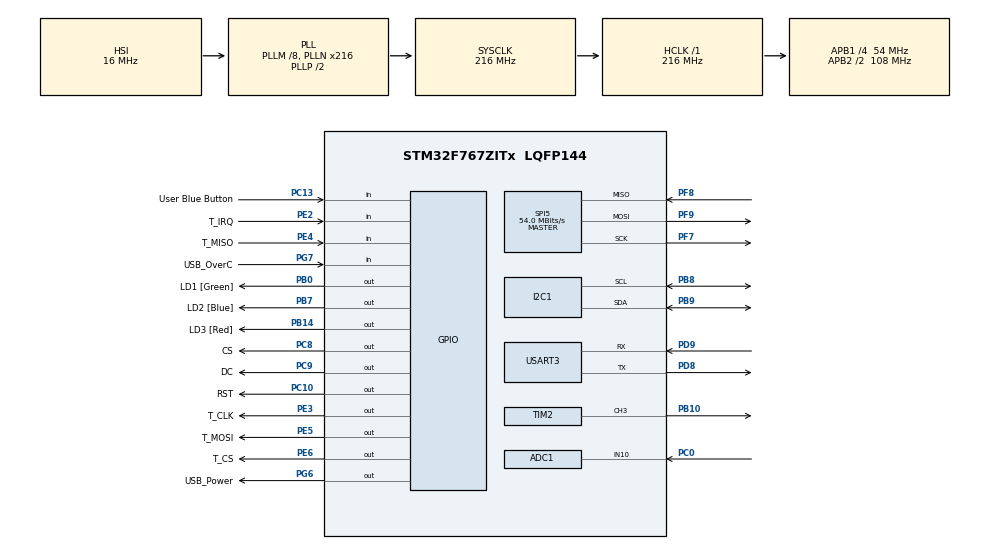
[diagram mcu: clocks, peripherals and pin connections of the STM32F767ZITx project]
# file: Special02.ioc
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ADC1.Channel-0\#ChannelRegularConversion=ADC_CHANNEL_10
ADC1.ContinuousConvMode=ENABLE
ADC1.EOCSelection=ADC_EOC_SEQ_CONV
ADC1.NbrOfConversionFlag=1
ADC1.Rank-0\#ChannelRegularConversion=1
ADC1.SamplingTime-0\#ChannelRegularConversion=ADC_SAMPLETIME_3CYCLES
ADC1.master=1
CORTEX_M7.ART_ACCELERATOR_ENABLE=1
CORTEX_M7.CPU_DCache=Enabled
CORTEX_M7.CPU_ICache=Enabled
CORTEX_M7.MPU_Control=__NULL
CORTEX_M7.PREFETCH_ENABLE=1
CORTEX_M7.default_mode_Activation=1
I2C1.Timing=0x20404768
Mcu.Family=STM32F7
Mcu.Name=STM32F767ZITx
Mcu.Package=LQFP144
NVIC.PriorityGroup=NVIC_PRIORITYGROUP_4
PB0.GPIO_Label=LD1 [Green]
PB0.Signal=GPIO_Output
PB10.GPIO_Speed=GPIO_SPEED_FREQ_VERY_HIGH
PB10.Signal=S_TIM2_CH3
PB14.GPIO_Label=LD3 [Red]
PB14.Signal=GPIO_Output
PB7.GPIO_Label=LD2 [Blue]
PB7.Signal=GPIO_Output
PB8.Mode=I2C
PB8.Signal=I2C1_SCL
PB9.Mode=I2C
PB9.Signal=I2C1_SDA
PC0.Signal=ADCx_IN10
PC10.GPIO_Label=RST
PC10.GPIO_Speed=GPIO_SPEED_FREQ_VERY_HIGH
PC10.Signal=GPIO_Output
PC13.GPIO_Label=User Blue Button
PC13.Signal=GPIO_Input
PC8.GPIO_Label=CS
PC8.GPIO_Speed=GPIO_SPEED_FREQ_VERY_HIGH
PC8.Signal=GPIO_Output
PC9.GPIO_Label=DC
PC9.GPIO_Speed=GPIO_SPEED_FREQ_VERY_HIGH
PC9.Signal=GPIO_Output
PD8.Mode=Asynchronous
PD8.Signal=USART3_TX
PD9.Mode=Asynchronous
PD9.Signal=USART3_RX
PE2.GPIO_Label=T_IRQ
PE2.Signal=GPIO_Input
PE3.GPIO_Label=T_CLK
PE3.GPIO_Speed=GPIO_SPEED_FREQ_VERY_HIGH
PE3.Signal=GPIO_Output
PE4.GPIO_Label=T_MISO
PE4.Signal=GPIO_Input
PE5.GPIO_Label=T_MOSI
PE5.GPIO_Speed=GPIO_SPEED_FREQ_VERY_HIGH
PE5.Signal=GPIO_Output
PE6.GPIO_Label=T_CS
PE6.GPIO_Speed=GPIO_SPEED_FREQ_VERY_HIGH
PE6.Signal=GPIO_Output
PF7.Mode=Full_Duplex_Master
PF7.Signal=SPI5_SCK
PF8.Mode=Full_Duplex_Master
PF8.Signal=SPI5_MISO
PF9.Mode=Full_Duplex_Master
PF9.Signal=SPI5_MOSI
PG6.GPIO_Label=USB_Power
PG6.Signal=GPIO_Output
PG7.GPIO_Label=USB_OverC
PG7.Signal=GPIO_Input
ProjectManager.HeapSize=0x200
ProjectManager.StackSize=0x400
ProjectManager.TargetToolchain=STM32CubeIDE
RCC.AHBFreq_Value=216000000
RCC.APB1CLKDivider=RCC_HCLK_DIV4
RCC.APB1Freq_Value=54000000
RCC.APB1TimFreq_Value=108000000
RCC.APB2CLKDivider=RCC_HCLK_DIV2
RCC.APB2Freq_Value=108000000
RCC.APB2TimFreq_Value=216000000
RCC.CortexFreq_Value=216000000
RCC.HCLKFreq_Value=216000000
RCC.HSE_VALUE=25000000
RCC.HSI_VALUE=16000000
RCC.LSE_VALUE=32768
RCC.PLLM=8
RCC.PLLN=216
RCC.SYSCLKFreq_VALUE=216000000
RCC.SYSCLKSource=RCC_SYSCLKSOURCE_PLLCLK
RCC.USBFreq_Value=216000000
RCC.VCOOutputFreq_Value=432000000
SH.ADCx_IN10.0=ADC1_IN10,IN10
SH.S_TIM2_CH3.0=TIM2_CH3,PWM Generation3 CH3
SPI5.CalculateBaudRate=54.0 MBits/s
SPI5.DataSize=SPI_DATASIZE_8BIT
SPI5.Direction=SPI_DIRECTION_2LINES
SPI5.Mode=SPI_MODE_MASTER
SPI5.NSSPMode=SPI_NSS_PULSE_DISABLE
SPI5.VirtualType=VM_MASTER
TIM1.ClockDivision=TIM_CLOCKDIVISION_DIV2
TIM1.Period=0
TIM1.Prescaler=10000
TIM2.Channel-PWM\ Generation3\ CH3=TIM_CHANNEL_3
TIM2.Period=10000-1
TIM2.Prescaler=108-1
TIM2.Pulse-PWM\ Generation3\ CH3=10000-1
USART3.VirtualMode-Asynchronous=VM_ASYNC
VP_RNG_VS_RNG.Mode=RNG_Activate
VP_TIM1_VS_ClockSourceINT.Mode=Internal
VP_TIM2_VS_ClockSourceINT.Mode=Internal
board=custom

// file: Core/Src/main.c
/* USER CODE BEGIN Header */
/**
  ******************************************************************************
  * @file           : main.c
  * @brief          : Main program body
  ******************************************************************************
  * @attention
  *
  * Copyright (c) 2025 STMicroelectronics.
  * All rights reserved.
  *
  * This software is licensed under terms that can be found in the LICENSE file
  * in the root directory of this software component.
  * If no LICENSE file comes with this software, it is provided AS-IS.
  *
  ******************************************************************************
  */
/* USER CODE END Header */
#include "main.h"
#include "adc.h"
#include "i2c.h"
#include "rng.h"
#include "spi.h"
#include "tim.h"
#include "usart.h"
#include "gpio.h"

/* USER CODE BEGIN Includes */
#include "ILI9341/ILI9341_Touchscreen.h"

#include "ILI9341/ILI9341_STM32_Driver.h"
#include "ILI9341/ILI9341_GFX.h"

#include "ILI9341/snow_tiger.h"

#include "stdio.h"
#include "string.h"

#include "stm32f7xx_hal.h"
#include "picture.h"

/* USER CODE END Includes */

/* USER CODE BEGIN PD */
#define CUSTOM_LIGHT_RED 0xfe79
#define CUSTOM_LIGHT_GREEN 0xe7fb
#define CUSTOM_LIGHT_BLUE 0xdedf

#define SCREEN_W 240
#define SCREEN_H 320

/* USER CODE END PD */

/* USER CODE BEGIN PV */
//  volatile uint32_t adc_val = 0;
  uint8_t state = 0;
  float temp = 40.0;
  float humid = 30.0;

  float red = 0.8;
  float green = 0.4;
  float blue = 0.7;

//  render var
  char temp_str[6];
  char humid_str[10];

  char red_str[5];
  char green_str[5];
  char blue_str[5];

  uint8_t gap = 6;

  uint8_t button_r = 22;
  uint8_t button_y = 30;
  uint8_t bar_w = 140;
  uint8_t bar_h = 30;

  uint8_t red_pos;
  uint8_t green_pos;
  uint8_t blue_pos;
  uint8_t x_bar_pos;
  uint8_t offset;

  uint32_t lastTempTime = 0;
  uint32_t lastButtonTime = 0;
  uint32_t studentTime = 0;

  volatile uint32_t adc_val = 0;
/* USER CODE END PV */

void SystemClock_Config(void);
/* USER CODE BEGIN PFP */

void init_positions(void) {
    red_pos   = 110;
    green_pos = red_pos + button_r*2 + gap;
    blue_pos  = green_pos + button_r*2 + gap;
    x_bar_pos = button_y + button_r + gap;
    offset    = bar_h/2;
}

uint16_t CRC16_2(uint8_t *ptr, uint8_t length){
	uint16_t crc = 0xFFFF;
	uint8_t s = 0x00;

	while (length--) {
		crc ^= *ptr++;
		for(s = 0; s < 8; s++) {
			if((crc & 0x01) != 0) {
				crc >>= 1;
				crc ^= 0xA001;
			} else crc >>= 1;
		}
	}
	return crc;
}

uint16_t RGB_to_HEX(float r, float g, float b)
{
    uint16_t red   = (uint16_t)(r * 31) & 0x1F;   // 5 bits
    uint16_t green = (uint16_t)(g * 63) & 0x3F;   // 6 bits
    uint16_t blue  = (uint16_t)(b * 31) & 0x1F;   // 5 bits

    return (red << 11) | (green << 5) | blue;
}

void update_color(float *color)
{
	if(*color >= 1.0){
		*color = 0;
	}
	else{
		*color += 0.1;
	}
}

void Draw_Image_From_Data(uint16_t x, uint16_t y, uint16_t width, uint16_t height, const uint16_t* image_data)
{
    uint32_t pixel_index = 0;

    for (uint16_t j = 0; j < height; j++)
    {
        for (uint16_t i = 0; i < width; i++)
        {

            uint16_t color = image_data[pixel_index];

            ILI9341_Draw_Pixel(x + i, y + j, color);

            pixel_index += 1;
        }
    }
}

void render_screen()
{
	ILI9341_Draw_Text(temp_str, 20, 35, BLACK, 2, WHITE);
//	char text[20];  // ขนาดของ array ควรเพียงพอสำหรับเก็บข้อความ
//	sprintf(text, "%lu", adc_val);  // แปลงค่า adc_val เป็นข้อความ
//	ILI9341_Draw_Text(text, 20, 35, BLACK, 2, WHITE);
	ILI9341_Draw_Text(humid_str, 170, 35, BLACK, 2, WHITE);

	ILI9341_Draw_Filled_Circle(130, 50, 25, RGB_to_HEX(red, green, blue));

	ILI9341_Draw_Filled_Circle(button_y, red_pos, button_r, RED);
	ILI9341_Draw_Filled_Circle(button_y, green_pos, button_r, GREEN);
	ILI9341_Draw_Filled_Circle(button_y, blue_pos, button_r, BLUE);

	ILI9341_Draw_Rectangle(x_bar_pos, red_pos - offset, bar_w, bar_h, CUSTOM_LIGHT_RED);
	ILI9341_Draw_Rectangle(x_bar_pos, green_pos - offset, bar_w, bar_h, CUSTOM_LIGHT_GREEN);
	ILI9341_Draw_Rectangle(x_bar_pos, blue_pos - offset, bar_w, bar_h, CUSTOM_LIGHT_BLUE);

	ILI9341_Draw_Rectangle(x_bar_pos, red_pos - offset, bar_w * red, bar_h, RED);
	ILI9341_Draw_Rectangle(x_bar_pos, green_pos - offset , bar_w * green, bar_h, GREEN);
	ILI9341_Draw_Rectangle(x_bar_pos, blue_pos - offset, bar_w * blue, bar_h, BLUE);

	ILI9341_Draw_Text(red_str, x_bar_pos + bar_w + 10, red_pos - 7, BLACK, 2, WHITE);
	ILI9341_Draw_Text(green_str,  x_bar_pos + bar_w + 10, green_pos - 7, BLACK, 2, WHITE);
	ILI9341_Draw_Text(blue_str,  x_bar_pos + bar_w + 10, blue_pos - 7, BLACK, 2, WHITE);
}

void render_student_screen(void){
	ILI9341_Fill_Screen(WHITE);
	ILI9341_Draw_Text("Group No.22", 130, 40, RGB_to_HEX(red, green, blue), 2, WHITE);
	ILI9341_Draw_Text("Emily", 130, 80, RGB_to_HEX(red, green, blue), 2, WHITE);
	ILI9341_Draw_Text("Chow", 130, 120, RGB_to_HEX(red, green, blue), 2, WHITE);
	ILI9341_Draw_Text("66010948", 130, 160, RGB_to_HEX(red, green, blue), 2, WHITE);
	Draw_Image_From_Data(10, 40, 100, 150, Jin_image);
}

/* USER CODE END PFP */

int main(void)
{

  /* USER CODE BEGIN 1 */
  uint8_t cmdBuffer[3] = {0x03, 0x00, 0x04};
  uint8_t dataBuffer[8];
  /* USER CODE END 1 */

  /* Enable the CPU Cache */

  /* Enable I-Cache---------------------------------------------------------*/
  SCB_EnableICache();

  /* Enable D-Cache---------------------------------------------------------*/
  SCB_EnableDCache();

  /* MCU Configuration--------------------------------------------------------*/

  /* Reset of all peripherals, Initializes the Flash interface and the Systick. */
  HAL_Init();

  /* Configure the system clock */
  SystemClock_Config();

  /* Initialize all configured peripherals */
  MX_GPIO_Init();
  MX_RNG_Init();
  MX_SPI5_Init();
  MX_TIM1_Init();
  MX_I2C1_Init();
  MX_USART3_UART_Init();
  MX_ADC1_Init();
  MX_TIM2_Init();
  /* USER CODE BEGIN 2 */
  ILI9341_Init();
  init_positions();
  HAL_ADC_Start(&hadc1);
  MX_TIM2_Init();
  /* USER CODE END 2 */

  /* Infinite loop */
  /* USER CODE BEGIN WHILE */

//  uint8_t gap = 6;

//  uint8_t button_r = 22;
//  uint8_t button_y = 30;
//  uint8_t bar_w = 140;
//  uint8_t bar_h = 30;

//  uint8_t red_pos = 110;
//  uint8_t green_pos = red_pos + button_r*2 + gap;
//  uint8_t blue_pos = green_pos + button_r*2 + gap;

//  uint8_t x_bar_pos = button_y + button_r + gap;

//  uint8_t offset = bar_h/2;

  uint32_t lastTempTime = 0;
//  uint32_t lastButtonTime = 0;

  float dutyCycle = 1.0;

  ILI9341_Fill_Screen(WHITE);
  ILI9341_Set_Rotation(SCREEN_HORIZONTAL_2);

  sprintf(temp_str, "%.1f C", temp);
  sprintf(humid_str, "%.1f %%RH", humid);

  sprintf(red_str, "%3u%%", (uint8_t)(red * 100));
  sprintf(green_str, "%3u%%", (uint8_t)(green * 100));
  sprintf(blue_str, "%3u%%", (uint8_t)(blue * 100));

  render_screen();
  HAL_TIM_PWM_Start(&htim2, TIM_CHANNEL_3);

  while (1)
  {
    /* USER CODE END WHILE */

    /* USER CODE BEGIN 3 */
	uint32_t now = HAL_GetTick();

	adc_val = HAL_ADC_GetValue(&hadc1);
	dutyCycle = 0.2f + ((float)adc_val / 4095.0f) * (1.0f - 0.2f);
	htim2.Instance -> CCR3 = (10000 - 1) * dutyCycle;

	if (state == 0 )
	{

	//	Sensor
		if (now - lastTempTime > 5000)
		{
			HAL_I2C_Master_Transmit(&hi2c1, 0x5C << 1, NULL, 0, 1000);
			HAL_Delay(2);
			HAL_I2C_Master_Transmit(&hi2c1, 0x5C<<1, cmdBuffer, 3, 1000);
			HAL_Delay(1);

			HAL_I2C_Master_Receive(&hi2c1, 0x5C<<1, dataBuffer, 8, 1000);

//			for (int i = 0; i < 8; i++)
//			{
//				char buf[20];
//				sprintf(buf, "B[%d]=%02X\r\n", i, dataBuffer[i]);
//				HAL_UART_Transmit(&huart3, (uint8_t*)buf, strlen(buf), 100);
//			}

			uint16_t Rcrc = (dataBuffer[6] & 0xFF) | (dataBuffer[7] << 8);

			uint16_t crc16 = CRC16_2(dataBuffer, 6);

			if (Rcrc != crc16) continue;
			uint16_t temperature = ((dataBuffer[4] & 0x7F) << 8) + dataBuffer[5];
			temp = temperature / 10.0;
			if (dataBuffer[4] & 0x80) temp = -temp;

			uint16_t humidity = (dataBuffer[2] << 8) + dataBuffer[3];
			humid = humidity / 10.0;

			sprintf(temp_str, "%.1f C", temp);
			sprintf(humid_str, "%.1f %%RH", humid);

			render_screen();

			lastTempTime = now;
		}
	// touch pad
//		if (now - lastButtonTime >= 50) {
			if(TP_Touchpad_Pressed())
			{
				uint16_t x_pos = 0;
				uint16_t y_pos = 0;

				uint16_t position_array[2];

				if(TP_Read_Coordinates(position_array) == TOUCHPAD_DATA_OK)
				{
					x_pos = position_array[0];
					y_pos = position_array[1];

					if (y_pos >= ILI9341_SCREEN_HEIGHT - button_y - button_r && y_pos <= ILI9341_SCREEN_HEIGHT - button_y + button_r)
					{
						if ((x_pos >= red_pos - button_r) &&(x_pos <= red_pos + button_r)) {
							update_color(&red);
							HAL_GPIO_WritePin(GPIOB, LD3_Pin, GPIO_PIN_SET);
						}
						else if ((x_pos >= green_pos - button_r) &&(x_pos <= green_pos + button_r)) {
							update_color(&green);
							HAL_GPIO_WritePin(GPIOB, LD1_Pin, GPIO_PIN_SET);
						}
						else if ((x_pos >= blue_pos - button_r) &&(x_pos <= blue_pos + button_r)) {
							update_color(&blue);
							HAL_GPIO_WritePin(GPIOB, LD2_Pin, GPIO_PIN_SET);
						}
					}
					if (y_pos >= ILI9341_SCREEN_HEIGHT - 130 - 25 && y_pos <= ILI9341_SCREEN_HEIGHT - 130 + 25)
					{
						if ((x_pos >= 50 - 25) &&(x_pos <= 50 + 25)) {
							studentTime = now;
							state = 1;
						}
					}

					sprintf(red_str, "%3u%%", (uint8_t)(red * 100));
					sprintf(green_str, "%3u%%", (uint8_t)(green * 100));
					sprintf(blue_str, "%3u%%", (uint8_t)(blue * 100));

					render_screen();

					HAL_Delay(10);

				}
				HAL_GPIO_WritePin(GPIOB, LD3_Pin | LD2_Pin | LD1_Pin, GPIO_PIN_RESET);
			}
//			lastButtonTime = now;
//		}
	}
	else
	{
		render_student_screen();
		while (now - studentTime < 5000)
		{
			adc_val = HAL_ADC_GetValue(&hadc1);
			dutyCycle = 0.2f + ((float)adc_val / 4095.0f) * (1.0f - 0.2f);
			htim2.Instance -> CCR3 = (10000 - 1) * dutyCycle;

//			if (now - lastButtonTime >= 50)
//			{
				if(TP_Touchpad_Pressed())
				{
					uint16_t x_pos = 0;
					uint16_t y_pos = 0;

					uint16_t position_array[2];

					if(TP_Read_Coordinates(position_array) == TOUCHPAD_DATA_OK)
					{
						x_pos = position_array[0];
						y_pos = position_array[1];

						if (y_pos >= ILI9341_SCREEN_HEIGHT - 10 - 100 && y_pos <= ILI9341_SCREEN_HEIGHT - 10 && (x_pos >= 40) &&(x_pos <= 40 + 150))
						{
							break;
						}
						HAL_Delay(50);
					}
				}
//			}
			now = HAL_GetTick();
		}
		ILI9341_Fill_Screen(WHITE);
		state = 0;
	}
  }
  /* USER CODE END 3 */
  HAL_Delay(50);
}

void SystemClock_Config(void)
{
  RCC_OscInitTypeDef RCC_OscInitStruct = {0};
  RCC_ClkInitTypeDef RCC_ClkInitStruct = {0};

  /** Configure the main internal regulator output voltage
  */
  __HAL_RCC_PWR_CLK_ENABLE();
  __HAL_PWR_VOLTAGESCALING_CONFIG(PWR_REGULATOR_VOLTAGE_SCALE1);

  /** Initializes the RCC Oscillators according to the specified parameters
  * in the RCC_OscInitTypeDef structure.
  */
  RCC_OscInitStruct.OscillatorType = RCC_OSCILLATORTYPE_HSI;
  RCC_OscInitStruct.HSIState = RCC_HSI_ON;
  RCC_OscInitStruct.HSICalibrationValue = RCC_HSICALIBRATION_DEFAULT;
  RCC_OscInitStruct.PLL.PLLState = RCC_PLL_ON;
  RCC_OscInitStruct.PLL.PLLSource = RCC_PLLSOURCE_HSI;
  RCC_OscInitStruct.PLL.PLLM = 8;
  RCC_OscInitStruct.PLL.PLLN = 216;
  RCC_OscInitStruct.PLL.PLLP = RCC_PLLP_DIV2;
  RCC_OscInitStruct.PLL.PLLQ = 2;
  RCC_OscInitStruct.PLL.PLLR = 2;
  if (HAL_RCC_OscConfig(&RCC_OscInitStruct) != HAL_OK)
  {
    Error_Handler();
  }

  /** Activate the Over-Drive mode
  */
  if (HAL_PWREx_EnableOverDrive() != HAL_OK)
  {
    Error_Handler();
  }

  /** Initializes the CPU, AHB and APB buses clocks
  */
  RCC_ClkInitStruct.ClockType = RCC_CLOCKTYPE_HCLK|RCC_CLOCKTYPE_SYSCLK
                              |RCC_CLOCKTYPE_PCLK1|RCC_CLOCKTYPE_PCLK2;
  RCC_ClkInitStruct.SYSCLKSource = RCC_SYSCLKSOURCE_PLLCLK;
  RCC_ClkInitStruct.AHBCLKDivider = RCC_SYSCLK_DIV1;
  RCC_ClkInitStruct.APB1CLKDivider = RCC_HCLK_DIV4;
  RCC_ClkInitStruct.APB2CLKDivider = RCC_HCLK_DIV2;

  if (HAL_RCC_ClockConfig(&RCC_ClkInitStruct, FLASH_LATENCY_7) != HAL_OK)
  {
    Error_Handler();
  }
}

void Error_Handler(void)
{
  __disable_irq();
  while (1)
  {
  }
}
